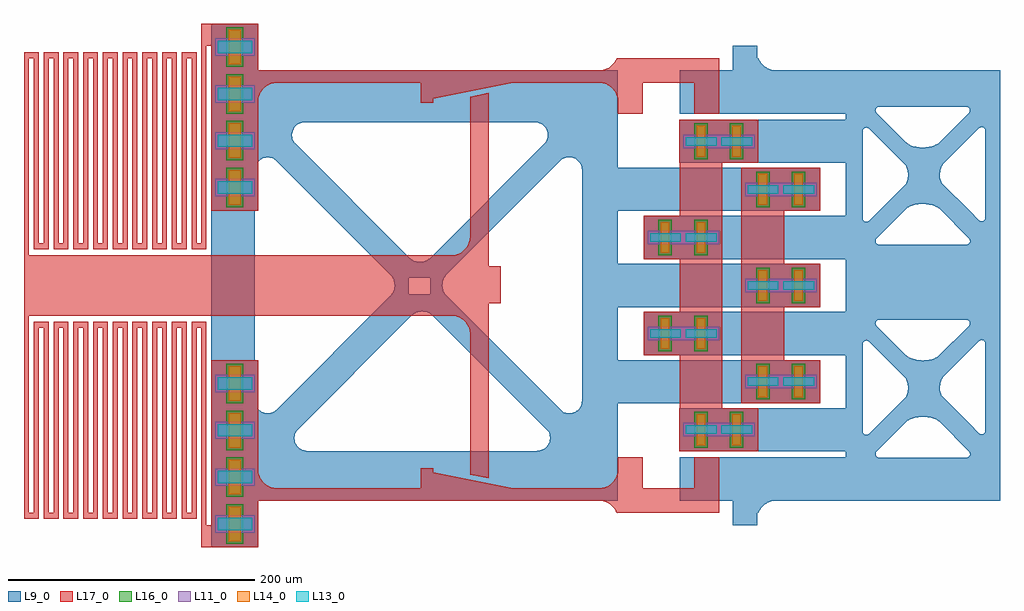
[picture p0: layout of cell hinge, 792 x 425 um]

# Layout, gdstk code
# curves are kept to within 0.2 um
import gdstk
lib = gdstk.Library(unit=1e-6, precision=1e-09)
def R(c, l, rs):  # rectangles x0, y0, x1, y1
    for r in rs: c.add(gdstk.rectangle(r[:2], r[2:], *l))
def A(c, l, x, y, w, h, nx, ny, dx, dy):  # array of equal rectangles
    R(c, l, [(x+i*dx, y+j*dy, x+i*dx+w, y+j*dy+h) for i in range(nx) for j in range(ny)])
def P(c, l, *ps):  # polygons
    for p in ps: c.add(gdstk.Polygon(p, *l))
L9_0 = (9, 0)
L11_0 = (11, 0)
L13_0 = (13, 0)
L14_0 = (14, 0)
L16_0 = (16, 0)
L17_0 = (17, 0)
L218_0 = (218, 0)

hinge = lib.new_cell('hinge')
A(hinge, L9_0, 0, -38, 38, 38, 1, 4, 0, 38)
A(hinge, L9_0, 379.8, 40, 35, 35, 1, 4, 0, 78)
A(hinge, L9_0, 380, 40, 135, 35, 1, 4, 0, 78)
A(hinge, L9_0, 430, 79, 35, 35, 1, 3, 0, 78)
A(hinge, L9_0, 459, 79, 35, 35, 1, 3, 0, 78)
A(hinge, L9_0, 0, 235, 38, 38, 1, 4, 0, 38)
R(hinge, L9_0, [(423,-20,443,0), (380,0,515,35), (408.8,40,443.8,75), (330,79.1,494,114), (350.8,118,385.8,153), (330,157,494,192), (350.8,196,385.8,231), (330,235,494,270), (408.8,274,443.8,309), (380,314,515,349), (423,349,443,369)])
P(hinge, L9_0, [(443,349),(457.8,349),(453.29,349.908),(449.234,352.082),(445.981,355.335),(443.924,359.101),(443,359.101)],
  [(443,0.001),(457.8,0.001),(453.29,-0.907),(449.234,-3.081),(445.981,-6.334),(443.924,-10.1),(443,-10.1)],
  [(330,349),(273.047,349),(273.047,296.03),(272.656,293.677),(271.103,290.466),(177.078,196.378),(173.72,194.497),(169.469,193.698),(165.195,194.364),(163.204,195.229),(160.64,197.06),(67.916,289.784),(66.238,292.51),(65.453,295.99),(65.886,299.531),(67.486,302.719),(69.113,304.462),(71.094,305.79),(73.324,306.634),(75.8,307.1),(262.7,307.1),(265.176,306.674),(267.406,305.83),(270.25,303.677),(272.204,300.692),(272.893,298.41),(273.047,296.03),(273.047,349),(0,349),(0,174.5),(35.3,174.5),(35.3,268.1),(36.084,271.715),(37.898,274.787),(40.64,277.068),(42.829,278.014),(45.176,278.438),(47.558,278.319),(49.85,277.662),(52.263,276.237),(146.022,182.478),(147.903,179.12),(148.484,177.028),(148.692,174.5),(160.2,174.5),(160.2,180.9),(177.8,180.9),(177.8,174.5),(187.6,174.5),(188.264,178.805),(190.361,182.661),(284.536,276.836),(287.537,278.256),(289.89,278.647),(292.27,278.493),(294.552,277.804),(297.537,275.85),(299.69,273.006),(300.534,270.776),(300.96,268.3),(301,273.68),(301,174.5),(330,174.5)],
  [(330,174.5),(301,174.5),(301,81),(300.216,77.385),(299.123,75.266),(296.659,72.686),(294.592,71.496),(291.124,70.662),(288.742,70.781),(285.375,71.958),(283.43,73.67),(283.43,40.2),(77.8,40.2),(75.324,40.626),(73.094,41.47),(71.113,42.798),(69.486,44.541),(68.296,46.608),(67.607,48.89),(67.453,51.27),(67.844,53.623),(69.663,57.163),(162.816,150.316),(165.679,152.181),(168.772,153.184),(172.017,153.373),(174.162,153.039),(177.196,151.871),(179.061,150.639),(273.481,56.219),(274.556,53.763),(274.947,51.41),(274.514,47.869),(273.568,45.68),(272.15,43.763),(270.334,42.217),(268.215,41.124),(264.6,40.34),(283.43,40.2),(283.43,73.67),(190.684,166.416),(189.324,168.318),(188.397,170.28),(187.6,174.5),(177.8,174.5),(177.8,167.2),(160.2,167.2),(160.2,174.5),(148.692,174.5),(148.339,171.638),(147.646,169.581),(145.34,166.04),(52.516,73.216),(49.79,71.538),(47.498,70.881),(45.116,70.762),(42.769,71.186),(40.58,72.132),(37.838,74.413),(36.024,77.485),(35.3,80.709),(35.3,174.5),(0,174.5),(0,0),(330,0)],
  [(640,349),(615.633,349),(615.633,316.587),(615.139,314.939),(590,289.7),(587.609,288.528),(583.829,287.241),(581.219,286.71),(577.237,286.42),(573.257,286.742),(569.373,287.667),(565.676,289.174),(563.7,290.6),(539.665,314.656),(538.967,316.587),(539.428,318.246),(540.398,319.232),(541.6,319.7),(613,319.7),(614.202,319.232),(614.973,318.532),(615.633,316.587),(615.633,349),(515,349),(515,260.9),(528.5,260.9),(528.5,300.1),(529.172,301.585),(530.584,302.568),(532.304,302.648),(533.801,301.799),(563.189,272.411),(564.395,270.023),(565.316,266.581),(565.477,264.209),(565.079,260.9),(591.515,260.9),(591.158,263.302),(591.328,266.86),(592.313,270.284),(593.996,273.296),(622.899,302.199),(624.062,302.948),(625.087,303.133),(627.032,302.473),(627.732,301.702),(628.2,300.5),(628.2,260.9),(640,260.9)],
  [(640,260.9),(628.2,260.9),(628.139,228.857),(627.528,227.615),(626.439,226.762),(625.087,226.467),(623.742,226.789),(615.733,234.567),(615.717,210.264),(614.843,208.406),(613.1,207.5),(541.6,207.5),(540.115,208.172),(539.262,209.261),(538.99,210.96),(539.461,212.261),(564.7,237.5),(567.091,238.672),(570.871,239.959),(573.481,240.49),(577.463,240.78),(581.443,240.458),(585.327,239.533),(589.024,238.026),(591,236.6),(614.799,212.801),(615.548,211.638),(615.733,210.613),(615.733,234.567),(592.666,257.634),(591.515,260.9),(565.079,260.9),(563.335,256.535),(533.801,227.001),(532.638,226.252),(531.613,226.067),(529.668,226.727),(528.968,227.498),(528.5,228.7),(528.5,260.9),(515,260.9),(515,172.8),(640,172.8)],
  [(640,176.2),(615.633,176.2),(615.633,143.787),(615.139,142.139),(590,116.9),(587.609,115.728),(583.829,114.441),(581.219,113.91),(577.237,113.62),(573.257,113.942),(569.373,114.867),(565.676,116.374),(563.7,117.8),(539.665,141.856),(538.967,143.787),(539.428,145.446),(540.398,146.432),(541.6,146.9),(613,146.9),(614.202,146.432),(614.973,145.732),(615.633,143.787),(615.633,176.2),(515,176.2),(515,88.1),(528.5,88.1),(528.5,127.3),(529.172,128.785),(530.584,129.768),(532.304,129.848),(533.801,128.999),(563.189,99.611),(564.395,97.223),(565.316,93.781),(565.477,91.409),(565.079,88.1),(591.515,88.1),(591.158,90.502),(591.328,94.06),(592.313,97.484),(593.996,100.496),(622.899,129.399),(624.062,130.148),(625.087,130.333),(627.032,129.673),(627.732,128.902),(628.2,127.7),(628.2,88.1),(640,88.1)],
  [(640,88.1),(628.2,88.1),(628.139,56.057),(627.528,54.815),(626.439,53.962),(625.087,53.667),(623.742,53.989),(615.733,61.767),(615.717,37.464),(614.843,35.606),(613.1,34.7),(541.6,34.7),(540.115,35.372),(539.262,36.461),(538.99,38.16),(539.461,39.461),(564.7,64.7),(567.091,65.872),(570.871,67.159),(573.481,67.69),(577.463,67.98),(581.443,67.658),(585.327,66.733),(589.024,65.226),(591,63.8),(614.799,40.001),(615.548,38.838),(615.733,37.813),(615.733,61.767),(592.666,84.834),(591.515,88.1),(565.079,88.1),(563.335,83.735),(533.801,54.201),(532.638,53.452),(531.613,53.267),(529.668,53.927),(528.968,54.698),(528.5,55.9),(528.5,88.1),(515,88.1),(515,0),(640,0)])
A(hinge, L11_0, 3.2, -26, 32, 14, 1, 4, 0, 38)
A(hinge, L11_0, 383, 52, 29, 11, 1, 4, 0, 78)
A(hinge, L11_0, 433.2, 91, 29, 11, 1, 3, 0, 78)
A(hinge, L11_0, 462.2, 91, 29, 11, 1, 3, 0, 78)
A(hinge, L11_0, 3.2, 247, 32, 14, 1, 4, 0, 38)
R(hinge, L11_0, [(412,52,441,63), (354,130,383,141), (354,208,383,219), (412,286,441,297)])
A(hinge, L13_0, 5.2, -24, 28, 10, 1, 4, 0, 38)
A(hinge, L13_0, 385, 54, 25, 7, 1, 4, 0, 78)
A(hinge, L13_0, 435.2, 93, 25, 7, 1, 3, 0, 78)
A(hinge, L13_0, 464.2, 93, 25, 7, 1, 3, 0, 78)
A(hinge, L13_0, 5.2, 249, 28, 10, 1, 4, 0, 38)
R(hinge, L13_0, [(414,54,439,61), (356,132,381,139), (356,210,381,217), (414,288,439,295)])
A(hinge, L14_0, 14, -33, 10, 28, 1, 4, 0, 38)
A(hinge, L14_0, 393.8, 45, 7, 25, 1, 4, 0, 78)
A(hinge, L14_0, 444, 84, 7, 25, 1, 3, 0, 78)
A(hinge, L14_0, 473, 84, 7, 25, 1, 3, 0, 78)
A(hinge, L14_0, 14, 240, 10, 28, 1, 4, 0, 38)
R(hinge, L14_0, [(422.8,45,429.8,70), (364.8,123,371.8,148), (364.8,201,371.8,226), (422.8,279,429.8,304)])
A(hinge, L16_0, 12, -35, 14, 32, 1, 4, 0, 38)
A(hinge, L16_0, 391.8, 43, 11, 29, 1, 4, 0, 78)
A(hinge, L16_0, 442, 82, 11, 29, 1, 3, 0, 78)
A(hinge, L16_0, 471, 82, 11, 29, 1, 3, 0, 78)
A(hinge, L16_0, 12, 238, 14, 32, 1, 4, 0, 38)
R(hinge, L16_0, [(420.8,43,431.8,72), (362.8,121,373.8,150), (362.8,199,373.8,228), (420.8,277,431.8,306)])
A(hinge, L17_0, 0, -38, 38, 38, 1, 4, 0, 38)
A(hinge, L17_0, -152, -14.9, 12, 5, 9, 2, 16, 373.8)
A(hinge, L17_0, -144, -9.9, 4, 150, 17, 2, 8, 218.8)
A(hinge, L17_0, 379.8, 40, 35, 35, 1, 4, 0, 78)
A(hinge, L17_0, 430, 79, 35, 35, 1, 3, 0, 78)
A(hinge, L17_0, 459, 79, 35, 35, 1, 3, 0, 78)
A(hinge, L17_0, -144, 140.1, 12, 5, 9, 2, 16, 63.8)
A(hinge, L17_0, 0, 235, 38, 38, 1, 4, 0, 38)
R(hinge, L17_0, [(-8,-38,0,-19.9), (-8,-19.9,-4,140.1), (330,-10.1,350,35.3), (392,-10.1,412,35.1), (350,-10,392,10), (-152,-9.9,-148,150.1), (38.001,0.001,330.001,10.001), (170,10,180,26.4), (210,21.1,225,174.4), (380,40,414.8,309), (408.8,40,443.8,75), (430,79,465,270), (350.8,118,385.8,153), (-152,150.1,210,198.9), (225,160,235,190), (210,174.4,225,327.8), (350.8,196,385.8,231), (-152,198.9,-148,358.9), (-8,208.9,-4,368.9), (408.8,274,443.8,309), (330,313.7,350,359.1), (392,313.9,412,359.1), (170,322.651,180,339.051), (38.001,339,330.001,349), (350,339,392,359), (-8,368.9,0,387)])
P(hinge, L17_0, [(38.001,23.751),(38.807,20.391),(39.745,18.283),(42.488,14.589),(45.186,12.428),(47.219,11.339),(49.389,10.558),(52.8,10),(38,10)],
  [(180,10.051),(180,23.051),(245,10.051)],
  [(209.999,136.349),(209.193,139.709),(208.255,141.817),(205.512,145.511),(202.814,147.672),(200.781,148.761),(198.611,149.542),(195.2,150.1),(210,150.1)],
  [(196.249,198.901),(199.609,199.707),(201.717,200.645),(205.411,203.388),(207.572,206.086),(208.661,208.119),(209.442,210.289),(210,213.7),(210,198.9)],
  [(225,21.1),(225,18.1),(210,21.1)],
  [(180,339),(180,326),(245,339)],
  [(329.999,325.25),(329.193,328.61),(328.255,330.718),(325.512,334.412),(322.814,336.573),(320.781,337.662),(318.611,338.443),(315.2,339.001),(330,339.001)],
  [(225,327.8),(225,330.8),(210,327.8)],
  [(330,0.001),(315.2,0.001),(319.71,-0.907),(323.766,-3.081),(327.019,-6.334),(329.076,-10.1),(330,-10.1)],
  [(316.25,10.001),(319.61,10.807),(321.718,11.745),(325.412,14.488),(327.573,17.186),(328.662,19.219),(329.443,21.389),(330.001,24.8),(330.001,10)],
  [(330.001,359.1),(329.017,359.1),(326.919,355.234),(323.666,351.981),(319.61,349.807),(316.25,349),(330.001,349)],
  [(38.001,325.249),(38.807,328.609),(39.745,330.717),(42.488,334.411),(45.186,336.572),(47.219,337.661),(49.389,338.442),(52.8,339),(38,339)])
hinge.add(gdstk.FlexPath([(577.2,349),(577.2,0),(577.4,0)], 0, ends="flush", simple_path=True, layer=218, datatype=0))  # L218_0
hinge.add(gdstk.FlexPath([(169.4,349),(169.4,0),(169.6,0)], 0, ends="flush", simple_path=True, layer=218, datatype=0))  # L218_0
hinge.add(gdstk.FlexPath([(640,174.4),(176.9,174.4)], 0, ends="flush", simple_path=True, layer=218, datatype=0))  # L218_0
hinge.add(gdstk.FlexPath([(420.1,309),(420.1,40)], 0, ends="flush", simple_path=True, layer=218, datatype=0))  # L218_0

lib.write_gds('hinge.gds')
